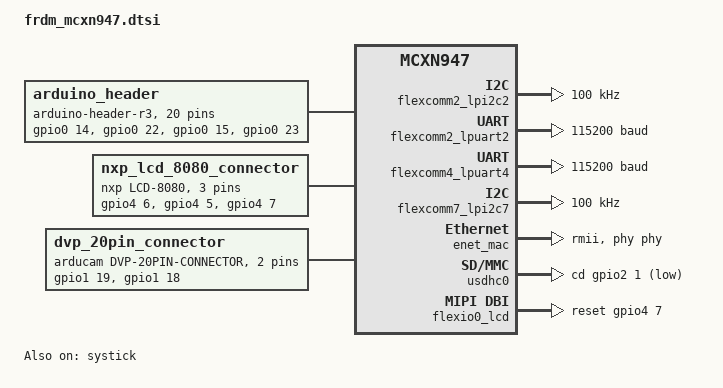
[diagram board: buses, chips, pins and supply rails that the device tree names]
/*
 * Copyright 2024 NXP
 *
 * SPDX-License-Identifier: Apache-2.0
 */

#include "frdm_mcxn947-pinctrl.dtsi"
#include <zephyr/dt-bindings/i2c/i2c.h>
#include <zephyr/dt-bindings/gpio/arduino-header-r3.h>
#include <zephyr/dt-bindings/gpio/dvp-20pin-connector.h>
#include <zephyr/dt-bindings/input/input-event-codes.h>

/ {
	aliases {
		led0 = &red_led;
		led1 = &green_led;
		led2 = &blue_led;
		sw0 = &user_button_2;
		sw1 = &user_button_3;
		sdhc0 = &usdhc0;
		mcuboot-button0 = &user_button_2;
	};

	leds {
		compatible = "gpio-leds";

		green_led: led_1 {
			gpios = <&gpio0 27 GPIO_ACTIVE_LOW>;
			label = "Green LED";
			status = "disabled";
		};

		blue_led: led_2 {
			gpios = <&gpio1 2 GPIO_ACTIVE_LOW>;
			label = "Blue LED";
			status = "disabled";
		};

		red_led: led_3 {
			gpios = <&gpio0 10 GPIO_ACTIVE_LOW>;
			label = "Red LED";
			status = "disabled";
		};
	};

	gpio_keys {
		compatible = "gpio-keys";

		user_button_2: button_0 {
			label = "User SW2";
			gpios = <&gpio0 23 (GPIO_ACTIVE_LOW | GPIO_PULL_UP)>;
			zephyr,code = <INPUT_KEY_0>;
			status = "disabled";
		};

		user_button_3: button_1 {
			label = "User SW3";
			gpios = <&gpio0 6 (GPIO_ACTIVE_LOW | GPIO_PULL_UP)>;
			zephyr,code = <INPUT_KEY_1>;
			status = "disabled";
		};
	};

	arduino_header: arduino-connector {
		compatible = "arduino-header-r3";
		#gpio-cells = <2>;
		gpio-map-mask = <0xffffffff 0xffffffc0>;
		gpio-map-pass-thru = <0 0x3f>;
		gpio-map = <ARDUINO_HEADER_R3_A2 0 &gpio0 14 0>,
			   <ARDUINO_HEADER_R3_A3 0 &gpio0 22 0>,
			   <ARDUINO_HEADER_R3_A4 0 &gpio0 15 0>,
			   <ARDUINO_HEADER_R3_A5 0 &gpio0 23 0>,
			   <ARDUINO_HEADER_R3_D0 0 &gpio4 3 0>,
			   <ARDUINO_HEADER_R3_D1 0 &gpio4 2 0>,
			   <ARDUINO_HEADER_R3_D2 0 &gpio0 29 0>,
			   <ARDUINO_HEADER_R3_D3 0 &gpio1 23 0>,
			   <ARDUINO_HEADER_R3_D4 0 &gpio0 30 0>,
			   <ARDUINO_HEADER_R3_D5 0 &gpio1 21 0>,
			   <ARDUINO_HEADER_R3_D6 0 &gpio1 2 0>,
			   <ARDUINO_HEADER_R3_D7 0 &gpio0 31 0>,
			   <ARDUINO_HEADER_R3_D8 0 &gpio0 28 0>,
			   <ARDUINO_HEADER_R3_D9 0 &gpio0 10 0>,
			   <ARDUINO_HEADER_R3_D10 0 &gpio0 27 0>,
			   <ARDUINO_HEADER_R3_D11 0 &gpio0 24 0>,
			   <ARDUINO_HEADER_R3_D12 0 &gpio0 26 0>,
			   <ARDUINO_HEADER_R3_D13 0 &gpio0 25 0>,
			   <ARDUINO_HEADER_R3_D14 0 &gpio4 0 0>,
			   <ARDUINO_HEADER_R3_D15 0 &gpio4 1 0>;
	};

	/*
	 * This node describes the GPIO pins of the LCD-PAR-S035 panel 8080 interface.
	 */
	nxp_lcd_8080_connector: lcd-8080-connector {
		compatible = "nxp,lcd-8080";
		#gpio-cells = <2>;
		gpio-map-mask = <0xffffffff 0xffffffc0>;
		gpio-map-pass-thru = <0 0x3f>;
		gpio-map = <9 0 &gpio4 6 0>,	/* Pin 9, LCD touch INT */
			   <10 0 &gpio4 5 0>,	/* Pin 10, LCD backlight control */
			   <11 0 &gpio4 7 0>;	/* Pin 11, LCD and touch reset */
	};

	dvp_20pin_connector: dvp-20pin-connector {
		compatible = "arducam,dvp-20pin-connector";
		#gpio-cells = <2>;
		gpio-map-mask = <0xffffffff 0xffffffc0>;
		gpio-map-pass-thru = <0x0 GPIO_DT_FLAGS_MASK>;
		gpio-map = <DVP_20PIN_PEN 0 &gpio1 19 0>,
			   <DVP_20PIN_PDN 0 &gpio1 18 0>;
	};
};

&flexcomm1_lpspi1 {
	pinctrl-0 = <&pinmux_flexcomm1_lpspi>;
	pinctrl-names = "default";
};

nxp_8080_touch_panel_i2c: &flexcomm2_lpi2c2 {
	pinctrl-0 = <&pinmux_flexcomm2_lpi2c>;
	pinctrl-names = "default";
	clock-frequency = <I2C_BITRATE_STANDARD>;
};

&flexcomm2_lpuart2 {
	current-speed = <115200>;
	pinctrl-0 = <&pinmux_flexcomm2_lpuart>;
	pinctrl-names = "default";
};

&flexcomm4_lpuart4 {
	current-speed = <115200>;
	pinctrl-0 = <&pinmux_flexcomm4_lpuart>;
	pinctrl-names = "default";
};

&flexcomm7_lpi2c7 {
	pinctrl-0 = <&pinmux_flexcomm7_lpi2c>;
	pinctrl-names = "default";
	clock-frequency = <I2C_BITRATE_STANDARD>;
};

/* SmartDMA is used for video driver on this board */
&smartdma {
	/* Shields do not enable video-sdma parent node so enable it by default */
	status = "okay";
	program-mem = <0x4000000>;

	video_sdma: video-sdma {
		status = "disabled";
		compatible = "nxp,video-smartdma";
		pinctrl-0 = <&pinmux_smartdma_camera>;
		pinctrl-names = "default";
		vsync-pin = <4>;
		hsync-pin = <11>;
		pclk-pin = <5>;
	};
};

/*
 * MCXN947 board uses OS timer as the kernel timer
 * In case we need to switch to SYSTICK timer, then
 * replace &os_timer with &systick
 */
&os_timer {
	status = "disabled";
};

&systick {
	status = "okay";
};

&sram {
	sramg: memory@20050000 {
		compatible = "mmio-sram";
		reg = <0x20050000 DT_SIZE_K(64)>;
	};

	sramh: memory@20060000 {
		compatible = "mmio-sram";
		reg = <0x20060000 DT_SIZE_K(32)>;
	};
};

&flash {
	partitions {
		compatible = "fixed-partitions";
		#address-cells = <1>;
		#size-cells = <1>;

		/*
		 * Partition sizes must be aligned
		 * to the flash memory sector size of 8KB.
		 */
		boot_partition: partition@0 {
			label = "mcuboot";
			reg = <0x00000000 DT_SIZE_K(80)>;
		};

		slot0_partition: partition@14000 {
			label = "image-0";
			reg = <0x00014000 DT_SIZE_K(984)>;
		};

		slot1_partition: partition@10A000 {
			label = "image-1";
			reg = <0x0010A000 DT_SIZE_K(984)>;
		};
		/* storage_partition is placed in WINBOND flash memory*/
	};
};

&flexspi {
	pinctrl-0 = <&pinmux_flexspi>;
	pinctrl-names = "default";
	ahb-prefetch;
	ahb-bufferable;
	ahb-cacheable;
	ahb-read-addr-opt;
	combination-mode;
	rx-clock-source = <1>;

	/* WINBOND flash memory*/
	w25q64jvssiq: w25q64jvssiq@0 {
		compatible = "nxp,imx-flexspi-nor";
		status = "disabled";
		size = <DT_SIZE_M(64)>;
		reg = <0>;
		spi-max-frequency = <DT_FREQ_M(133)>;
		jedec-id = [ef 40 17];
		erase-block-size = <DT_SIZE_K(4)>;
		write-block-size = <1>;
		cs-interval-unit = <1>;
		cs-interval = <2>;
		cs-hold-time = <3>;
		cs-setup-time = <3>;
		data-valid-time = <2>;
		column-space = <0>;
	};
};

&dac0 {
	pinctrl-0 = <&pinmux_dac0>;
	pinctrl-names = "default";
};

&sai1 {
	pinctrl-0 = <&pinmux_sai1>;
	pinctrl-names = "default";
};

&sai0 {
	pinctrl-0 = <&pinmux_sai0>;
	pinctrl-names = "default";
};

&enet {
	pinctrl-0 = <&pinmux_enet_qos>;
	pinctrl-names = "default";
};

&enet_mac {
	phy-connection-type = "rmii";
	zephyr,random-mac-address;
	phy-handle = <&phy>;
};

&enet_mdio {
	phy: ethernet-phy@0 {
		compatible = "ethernet-phy";
		reg = <0>;
		status = "disabled";
	};
};

&flexpwm1_pwm0 {
	pinctrl-0 = <&pinmux_flexpwm1_pwm0>;
	pinctrl-names = "default";
};

&usdhc0 {
	pinctrl-0 = <&pinmux_usdhc0>;
	pinctrl-1 = <&pinmux_usdhc0>;
	pinctrl-2 = <&pinmux_usdhc0>;
	cd-gpios = <&gpio2 1 GPIO_ACTIVE_LOW>;
	pinctrl-names = "default", "slow", "med";
	no-1-8-v;
};

&lpadc0 {
	pinctrl-0 = <&pinmux_lpadc0>;
	pinctrl-names = "default";
};

zephyr_mipi_dbi_parallel: &flexio0_lcd {
	/* DMA channels 0, muxed to FlexIO TX */
	dmas = <&edma0 0 61>;
	dma-names = "tx";
	shifters-count = <8>;
	timers-count = <1>;
	enwr-pin = <1>;
	rd-pin = <0>;
	data-pin-start = <16>;
	reset-gpios = <&gpio4 7 GPIO_ACTIVE_HIGH>;
	cs-gpios = <&gpio0 12 GPIO_ACTIVE_HIGH>;
	rs-gpios = <&gpio0 7 GPIO_ACTIVE_HIGH>;
	pinctrl-0 = <&pinmux_flexio_lcd>;
	pinctrl-names = "default";
};

&lpcmp0 {
	pinctrl-0 = <&pinmux_lpcmp0>;
	pinctrl-names = "default";
};

&opamp0 {
	pinctrl-0 = <&pinmux_opamp0>;
	pinctrl-names = "default";
};

&i3c1 {
	pinctrl-0 = <&pinmux_i3c1>;
	pinctrl-names = "default";
};

&flexcan0 {
	pinctrl-0 = <&pinmux_flexcan0>;
	pinctrl-names = "default";
};

&sc_timer {
	pinctrl-0 = <&pinmux_sctimer>;
	pinctrl-names = "default";
};

dvp_20pin_i2c: &flexcomm7_lpi2c7 {};

dvp_20pin_interface: &video_sdma {};
